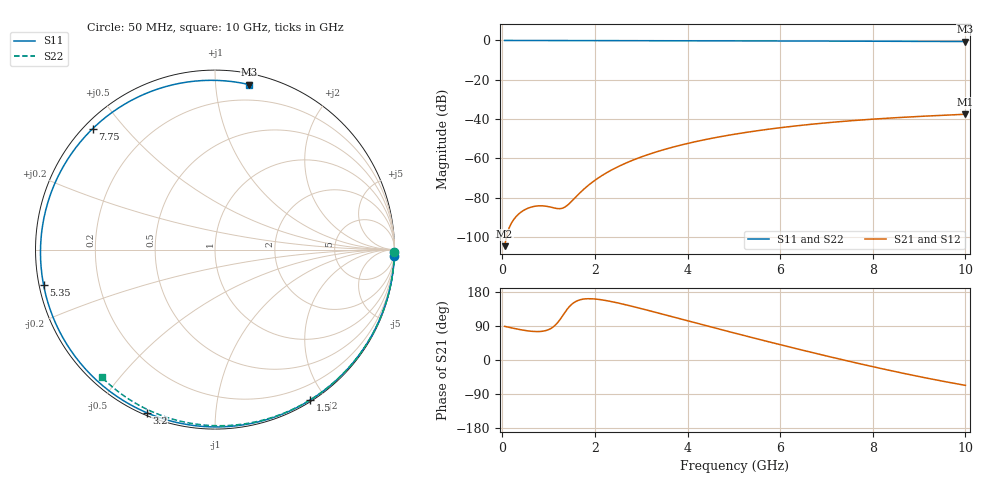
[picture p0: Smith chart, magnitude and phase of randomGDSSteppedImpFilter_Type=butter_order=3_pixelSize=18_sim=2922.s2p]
! freq	dB(S11)	phase(S11)	dB(S12)	phase(S12)
!  dB(S21)	phase(S21)	dB(S22)	phase(S22)
!S-par simulation data
#  GHz  S  DB  R 50
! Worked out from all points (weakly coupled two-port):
!   200 points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, 50 MHz to 10 GHz, reference 50 ohm
!   highest |S21| = -37.58 dB at 10 GHz (marker M1); lowest = -104.8 dB at 50 MHz (marker M2)
!   lowest |S11| = -0.5 dB at 10 GHz (marker M3), VSWR 31.71, Z = 3.95 + j61.2 ohm
!   |S11| at or under -10 dB: nowhere
!   |S22| runs from -0.4 to 0.0 dB; largest |S21 - S12| = 0
!   S11 on the Smith chart (normalised r, x): 50 MHz: 0, -57; 1.5 GHz: 0.02, -1.81; 3.2 GHz: 0.01, -0.66; 5.35 GHz: 0.01, -0.10; 7.75 GHz: 0.02, +0.41; 10 GHz: 0.08, +1.22
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0.05  -0.00 -2.0  -104.75 88.8  -104.75 88.8  -0.00 -0.8
0.35  -0.02 -14.0  -88.45 80.9  -88.45 80.9  -0.01 -5.3
0.7  -0.04 -27.7  -84.44 75.2  -84.44 75.2  -0.01 -10.6
1.1  -0.05 -43.1  -85.18 87.3  -85.18 87.3  -0.02 -16.6
1.5  -0.07 -57.8  -81.84 147.1  -81.84 147.1  -0.03 -22.5
1.6  -0.07 -61.4  -79.40 155.2  -79.40 155.2  -0.03 -24.0
1.75  -0.08 -66.7  -75.97 160.7  -75.97 160.7  -0.03 -26.2
2.05  -0.09 -77.0  -70.38 160.4  -70.38 160.4  -0.04 -30.6
2.35  -0.10 -86.9  -66.08 154.3  -66.08 154.3  -0.04 -35.0
2.75  -0.11 -99.4  -61.62 143.3  -61.62 143.3  -0.05 -40.8
3.2  -0.13 -112.8  -57.69 129.3  -57.69 129.3  -0.06 -47.1
3.4  -0.14 -118.4  -56.21 122.9  -56.21 122.9  -0.07 -49.9
4.25  -0.17 -141.2  -51.14 95.5  -51.14 95.5  -0.09 -61.6
5.05  -0.20 -161.1  -47.61 69.9  -47.61 69.9  -0.11 -72.3
5.35  -0.22 -168.3  -46.51 60.5  -46.51 60.5  -0.12 -76.2
6  -0.25 176.4  -44.44 40.5  -44.44 40.5  -0.15 -84.5
6.7  -0.30 160.1  -42.62 19.5  -42.62 19.5  -0.18 -93.2
7.2  -0.33 148.4  -41.52 4.9  -41.52 4.9  -0.21 -99.2
7.75  -0.37 135.4  -40.49 -10.7  -40.49 -10.7  -0.24 -105.8
8.35  -0.41 120.8  -39.55 -27.0  -39.55 -27.0  -0.29 -112.8
9.2  -0.48 99.3  -38.46 -48.6  -38.46 -48.6  -0.36 -122.6
10  -0.55 78.3  -37.58 -66.9  -37.58 -66.9  -0.44 -131.6
